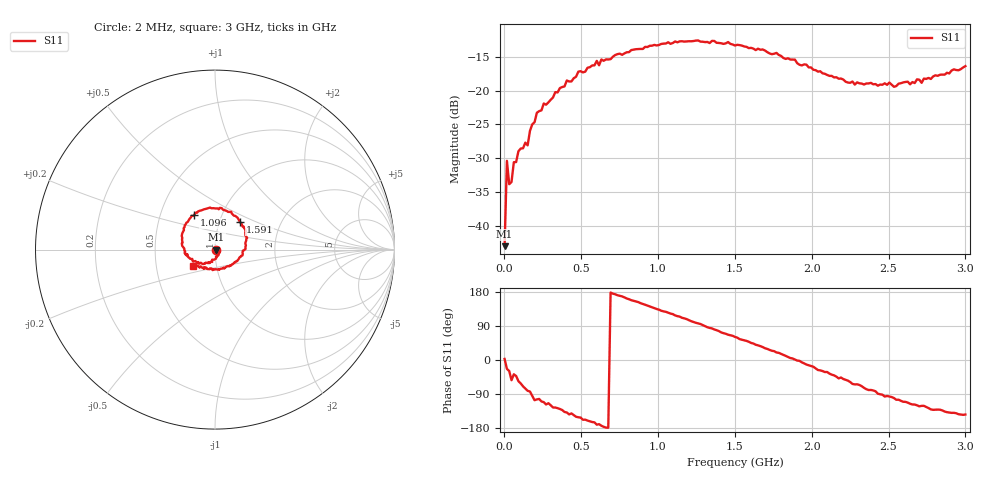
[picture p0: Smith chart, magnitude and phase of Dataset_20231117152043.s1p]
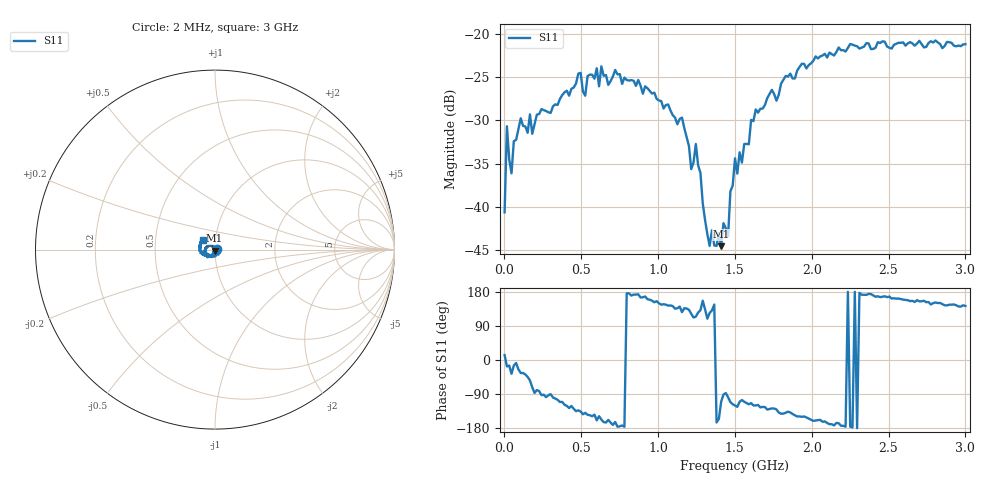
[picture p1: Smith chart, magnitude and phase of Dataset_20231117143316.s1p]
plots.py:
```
import numpy as np
import pandas as pd
import matplotlib.pyplot as plt
import math

from matplotlib.ticker import EngFormatter

Z0 = 50

# Quick and dirty Touchstone file reader for S1P
def read_s1p_file(fd):
    lines = filter(lambda s: not s.startswith('!') and not s.isspace(), fd.readlines())
    option_line, *data = lines
    if not option_line.startswith("#"):
        raise ValueError('Invalid Touchstone file')
    freq_unit, parameter, fmt, _, Z0 = option_line.lstrip(
        '#').casefold().split()
    if freq_unit == 'hz':
        freq_exp = 1
    elif freq_unit == 'khz':
        freq_exp = 1e3
    elif freq_unit == 'mhz':
        freq_exp = 1e6
    elif freq_unit == 'ghz':
        freq_exp = 1e9
    else:
        raise ValueError('Invalid frequency unit in Touchstone file')
    if not(parameter == 's' and fmt == 'ri'):
        raise ValueError('Unexpected Touchstone format, bailing...')
    mat = np.array([list(map(float, l.split())) for l in data])
    freq = freq_exp * mat[:,0]
    s11 = mat[:,1] + 1j * mat[:,2]
    return freq, s11

data = pd.read_csv("Dataset_20231117145831.csv", skiprows=50, header=None)
with open("Dataset_20231117152043.s1p") as fd:
    freq, s11 = read_s1p_file(fd)

with open("Dataset_20231117143316.s1p") as fd:
    _,s11_line = read_s1p_file(fd)

z_data = Z0 * (1 + s11) / (1 - s11)
z_line = Z0 * (1 + s11_line) / (1 - s11_line)

z_probe = 1/(1/z_data - 1/z_line)

plt.figure(figsize=(10,6))
ax = plt.axes()
plt.plot(data[0], data[1])
#plt.plot(data[4], data[5])
#plt.plot(data[8], data[9])
plt.xscale('log')
plt.xlabel('Frequency')
ax.xaxis.set_major_formatter(EngFormatter(unit='Hz'))
plt.yscale('linear')
plt.ylabel('$|S_{21}|$ (dB)')
plt.grid(axis='both', which='both')

plt.title('Active probe proto 1')
plt.tight_layout()
plt.savefig("probe_s21.svg", format='svg')

plt.figure(figsize=(10,6))
ax = plt.axes()
plt.plot(freq, abs(z_probe))
plt.xscale('log')
plt.xlabel('Frequency')
ax.xaxis.set_major_formatter(EngFormatter(unit='Hz'))
plt.yscale('log')
plt.ylabel('Impedance')
ax.yaxis.set_major_formatter(EngFormatter(unit='Ω'))
plt.grid(axis='both', which='both')

plt.title('Active probe proto 1 input impedance')
plt.tight_layout()
plt.savefig("probe_input_impedance.svg", format='svg')


plt.show()
```
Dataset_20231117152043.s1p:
! 1-port S-parameter data taken at 201 frequency points
! Created by R&S SxP Library version 0.2.0 at 17-11-2023 15:28:11
# Hz S RI R 50
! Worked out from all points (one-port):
!   201 points, 2 MHz to 3 GHz, reference 50 ohm
!   lowest |S11| = -43.0 dB at 2 MHz (marker M1), VSWR 1.01, Z = 50.7 + j0.0349 ohm
!   |S11| at or under -10 dB: start of sweep to end of sweep
!   S11 on the Smith chart (normalised r, x): 2 MHz: 1.01, +0.00; 1.096 GHz: 0.74, +0.30; 1.591 GHz: 1.25, +0.40; 3 GHz: 0.77, -0.14
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2000000  0.00704 0.000344
1.699e7  0.0278 -0.012
3.198e7  0.0177 -0.00988
4.697e7  0.0126 -0.0169
6.196e7  0.0234 -0.0181
1.519e8  0.006 -0.0389
2.5683e8  -0.0292 -0.075
6.016e8  -0.1642 -0.0271
1.00633e9  -0.1483 0.1601
1.09627e9  -0.1166 0.1934
1.59094e9  0.1383 0.1539
2.01066e9  0.1363 -0.0436
2.53531e9  -0.0194 -0.1052
3e9  -0.1229 -0.0897
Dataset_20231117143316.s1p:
! 1-port S-parameter data taken at 201 frequency points
! Created by R&S SxP Library version 0.2.0 at 17-11-2023 15:25:51
# Hz S RI R 50
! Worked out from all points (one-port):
!   201 points, 2 MHz to 3 GHz, reference 50 ohm
!   lowest |S11| = -44.5 dB at 1.411 GHz (marker M1), VSWR 1.01, Z = 49.8 - j0.556 ohm
!   |S11| at or under -10 dB: start of sweep to end of sweep
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2000000  0.00907 0.00211
1.699e7  0.028 -0.00856
4.697e7  0.0126 -0.00929
1.0693e8  0.0269 -0.0184
4.8168e8  -0.0401 -0.0432
1.00633e9  -0.0356 0.0209
1.24617e9  -0.00954 0.0211
1.33611e9  -0.00334 0.00493
1.41106e9  -0.00202 -0.00558
1.45603e9  -0.000977 -0.00669
1.501e9  -0.00958 -0.0165
1.63591e9  -0.0183 -0.0317
2.01066e9  -0.066 -0.0233
3e9  -0.0693 0.053
